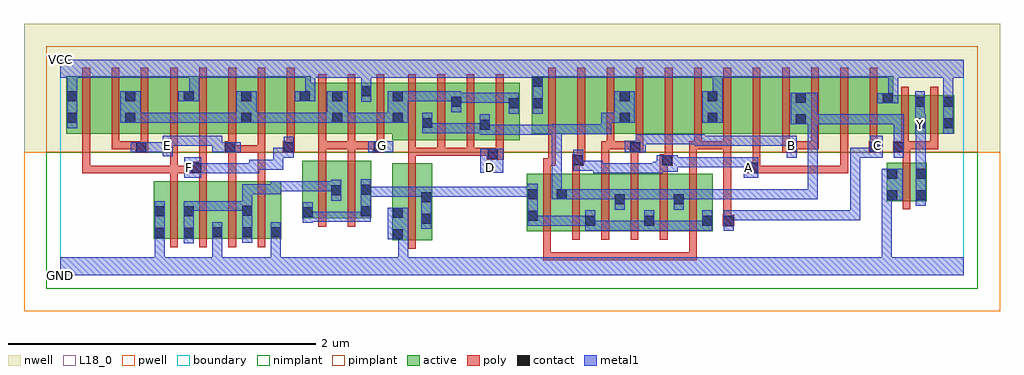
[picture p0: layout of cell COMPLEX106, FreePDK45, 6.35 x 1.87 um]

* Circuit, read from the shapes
.subckt COMPLEX106 A B C D E F G GND VCC Y
M1 n1 F GND VSUBS nfet w=0.375u l=0.05u m=2
M2 n1 E GND VSUBS nfet w=0.375u l=0.05u m=2
M3 n1 G n2 VSUBS nfet w=0.375u l=0.05u m=2
M4 n2 D GND VSUBS nfet w=0.5u l=0.05u
M5 n3 C n2 VSUBS nfet w=0.375u l=0.05u m=2
M6 n2 A n3 VSUBS nfet w=0.375u l=0.05u m=2
M7 n3 B n2 VSUBS nfet w=0.375u l=0.05u m=2
M8 Y n3 GND VSUBS nfet w=0.25u l=0.05u
M9 n4 F VCC n5 pfet w=0.375u l=0.05u
M10 n6 E n4 n5 pfet w=0.375u l=0.05u
M11 n7 E n6 n5 pfet w=0.375u l=0.05u
M12 VCC F n7 n5 pfet w=0.375u l=0.05u
M13 n8 F VCC n5 pfet w=0.375u l=0.05u
M14 n6 E n8 n5 pfet w=0.375u l=0.05u
M15 n9 E n6 n5 pfet w=0.375u l=0.05u
M16 VCC F n9 n5 pfet w=0.375u l=0.05u
M17 n6 G VCC n5 pfet w=0.332u l=0.05u m=3
M18 n3 D n6 n5 pfet w=0.375u l=0.05u m=4
M19 n10 C VCC n5 pfet w=0.375u l=0.05u
M20 n11 A n10 n5 pfet w=0.375u l=0.05u
M21 n3 B n11 n5 pfet w=0.375u l=0.05u
M22 n12 B n3 n5 pfet w=0.375u l=0.05u
M23 n13 A n12 n5 pfet w=0.375u l=0.05u
M24 VCC C n13 n5 pfet w=0.375u l=0.05u
M25 n14 C VCC n5 pfet w=0.375u l=0.05u
M26 n15 A n14 n5 pfet w=0.375u l=0.05u
M27 n3 B n15 n5 pfet w=0.375u l=0.05u
M28 n16 B n3 n5 pfet w=0.375u l=0.05u
M29 n17 A n16 n5 pfet w=0.375u l=0.05u
M30 VCC C n17 n5 pfet w=0.375u l=0.05u
M31 Y n3 VCC n5 pfet w=0.25u l=0.05u m=2
.ends

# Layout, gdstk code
import gdstk
lib = gdstk.Library(unit=1e-6, precision=1e-09)
def R(c, l, rs):  # rectangles x0, y0, x1, y1
    for r in rs: c.add(gdstk.rectangle(r[:2], r[2:], *l))
def A(c, l, x, y, w, h, nx, ny, dx, dy):  # array of equal rectangles
    R(c, l, [(x+i*dx, y+j*dy, x+i*dx+w, y+j*dy+h) for i in range(nx) for j in range(ny)])
active = (1, 0)
pwell = (2, 0)
nwell = (3, 0)
nimplant = (4, 0)
pimplant = (5, 0)
poly = (9, 0)
contact = (10, 0)
metal1 = (11, 0)
L18_0 = (18, 0)
boundary = (235, 0)

complex106 = lib.new_cell('COMPLEX106')
A(complex106, active, 0.04, 0.92, 0.225, 0.375, 3, 1, 0.38, 0)
A(complex106, active, 3.295, 0.92, 0.19, 0.375, 3, 1, 0.57, 0)
R(complex106, active, [(2.16,0.227,2.235,0.727), (2.16,0.227,2.42,0.727), (2.345,0.227,2.42,0.727), (0.61,0.237,0.685,0.612), (0.61,0.237,0.875,0.612), (0.8,0.237,1.06,0.612), (0.8,0.237,0.875,0.467), (0.985,0.237,1.255,0.612), (0.985,0.237,1.06,0.467), (1.18,0.237,1.44,0.612), (1.18,0.237,1.255,0.467), (1.365,0.237,1.44,0.612), (3.037,0.285,3.112,0.66), (3.037,0.285,3.302,0.66), (3.227,0.285,3.487,0.66), (3.412,0.285,3.677,0.66), (3.412,0.285,3.487,0.592), (3.602,0.285,3.872,0.66), (3.797,0.285,4.062,0.66), (3.797,0.285,3.872,0.592), (3.987,0.285,4.247,0.66), (4.172,0.285,4.247,0.66), (3.227,0.33,3.302,0.565), (3.987,0.33,4.062,0.53), (1.575,0.37,1.65,0.745), (1.575,0.37,1.835,0.745), (1.76,0.37,2.025,0.745), (1.76,0.37,1.835,0.59), (1.95,0.37,2.025,0.745), (3.602,0.37,3.677,0.592), (5.377,0.482,5.452,0.732), (5.377,0.482,5.637,0.732), (5.562,0.482,5.637,0.732), (2.16,0.877,2.425,1.252), (2.35,0.877,2.615,1.252), (2.35,0.877,2.425,1.07), (2.54,0.877,2.8,1.252), (2.725,0.877,2.99,1.252), (2.725,0.877,2.8,1.07), (2.915,0.877,2.99,1.2), (0.04,0.92,0.115,1.295), (0.265,0.92,0.495,1.295), (0.42,0.92,0.495,1.2), (0.645,0.92,0.875,1.295), (0.8,0.92,0.875,1.23), (1.025,0.92,1.25,1.295), (1.175,0.92,1.25,1.2), (1.175,0.92,1.405,1.295), (1.405,0.92,1.63,1.295), (1.555,0.92,1.63,1.2), (1.555,0.92,1.84,1.252), (1.765,0.92,1.84,1.2), (1.765,0.92,2.03,1.252), (1.955,0.92,2.235,1.252), (1.955,0.92,2.03,1.252), (2.16,0.92,2.235,1.2), (3.07,0.92,3.145,1.295), (3.07,0.92,3.295,1.295), (3.485,0.92,3.71,1.295), (3.635,0.92,3.71,1.2), (3.635,0.92,3.865,1.295), (4.055,0.92,4.282,1.295), (4.207,0.92,4.282,1.295), (4.207,0.92,4.435,1.295), (4.625,0.92,4.857,1.295), (4.782,0.92,5.007,1.295), (4.782,0.92,4.857,1.2), (5.007,0.92,5.197,1.295), (5.197,0.92,5.422,1.295), (5.347,0.92,5.632,1.17), (5.557,0.92,5.817,1.17), (5.742,0.92,5.817,1.17), (2.54,0.932,2.615,1.2), (5.557,0.95,5.632,1.165), (5.347,1.057,5.422,1.295)])
R(complex106, pwell, [(-0.235,-0.235,6.115,0.8)])
R(complex106, nwell, [(-0.235,0.8,6.115,1.635)])
R(complex106, nimplant, [(-0.09,-0.09,5.97,0.8)])
R(complex106, pimplant, [(-0.09,0.8,5.97,1.49)])
A(complex106, poly, 0.715, 0.182, 0.05, 0.485, 4, 1, 0.19, 0)
A(complex106, poly, 3.142, 0.23, 0.05, 0.485, 6, 1, 0.19, 0)
A(complex106, poly, 2.265, 0.777, 0.05, 0.095, 4, 1, 0.19, 0)
A(complex106, poly, 2.265, 0.777, 0.05, 0.05, 3, 1, 0.19, 0)
A(complex106, poly, 1.68, 0.82, 0.05, 0.095, 3, 1, 0.19, 0)
A(complex106, poly, 2.265, 0.822, 0.05, 0.485, 4, 1, 0.19, 0)
A(complex106, poly, 0.145, 0.865, 0.05, 0.485, 8, 1, 0.19, 0)
A(complex106, poly, 1.68, 0.865, 0.05, 0.442, 3, 1, 0.19, 0)
A(complex106, poly, 3.175, 0.865, 0.05, 0.485, 8, 1, 0.19, 0)
A(complex106, poly, 4.697, 0.865, 0.05, 0.485, 4, 1, 0.19, 0)
R(complex106, poly, [(3.142,0.097,3.192,0.147), (3.142,0.097,3.192,0.147), (3.142,0.097,3.192,0.147), (3.142,0.097,3.192,0.28), (3.142,0.097,3.357,0.147), (3.307,0.097,3.357,0.147), (3.307,0.097,3.357,0.147), (3.307,0.097,3.357,0.147), (3.307,0.097,3.49,0.147), (3.44,0.097,3.49,0.147), (3.44,0.097,3.737,0.147), (3.687,0.097,3.737,0.147), (3.687,0.097,3.737,0.147), (3.687,0.097,3.737,0.147), (3.687,0.097,4.01,0.147), (3.96,0.097,4.01,0.147), (3.96,0.097,4.01,0.147), (3.96,0.097,4.01,0.147), (3.96,0.097,4.142,0.147), (4.092,0.097,4.142,0.147), (4.092,0.097,4.142,0.147), (4.092,0.097,4.142,0.147), (4.092,0.097,4.142,0.28), (2.265,0.172,2.315,0.782), (1.68,0.315,1.73,0.8), (1.87,0.315,1.92,0.8), (4.312,0.317,4.387,0.392), (4.315,0.342,4.365,0.87), (5.482,0.427,5.532,0.787), (0.715,0.617,0.765,0.712), (0.905,0.617,0.955,0.712), (1.095,0.617,1.145,0.845), (1.285,0.617,1.335,0.845), (0.145,0.662,0.195,0.712), (0.145,0.662,0.195,0.712), (0.145,0.662,0.195,0.712), (0.145,0.662,0.195,0.712), (0.145,0.662,0.195,0.712), (0.145,0.662,0.195,0.915), (0.145,0.662,0.327,0.712), (0.277,0.662,0.327,0.712), (0.277,0.662,0.632,0.712), (0.582,0.662,0.632,0.712), (0.582,0.662,0.632,0.712), (0.582,0.662,0.632,0.712), (0.582,0.662,0.765,0.712), (0.715,0.662,0.765,0.712), (0.715,0.662,0.765,0.712), (0.715,0.662,0.765,0.712), (0.715,0.662,0.765,0.712), (0.715,0.662,0.765,0.712), (0.715,0.662,0.765,0.915), (0.715,0.662,0.897,0.712), (0.847,0.662,0.897,0.712), (0.847,0.662,0.897,0.712), (0.847,0.662,0.955,0.737), (4.472,0.662,4.555,0.737), (4.505,0.662,4.555,0.712), (4.505,0.662,4.555,0.712), (4.505,0.662,4.687,0.712), (4.637,0.662,4.687,0.712), (4.637,0.662,4.93,0.712), (4.88,0.662,4.93,0.712), (4.88,0.662,4.93,0.712), (4.88,0.662,4.93,0.712), (4.88,0.662,5.127,0.712), (5.077,0.662,5.127,0.712), (5.077,0.662,5.127,0.712), (5.077,0.662,5.127,0.712), (5.077,0.662,5.127,0.712), (5.077,0.662,5.127,0.712), (5.077,0.662,5.127,0.915), (3.142,0.665,3.192,0.76), (3.332,0.665,3.382,0.76), (3.522,0.665,3.572,0.87), (3.712,0.665,3.762,0.845), (3.902,0.665,3.952,0.76), (4.092,0.665,4.142,0.87), (0.905,0.687,0.955,0.737), (0.905,0.687,0.955,0.737), (0.905,0.687,0.955,0.915), (4.505,0.687,4.555,0.737), (4.505,0.687,4.555,0.737), (4.505,0.687,4.555,0.915), (3.142,0.71,3.225,0.76), (3.175,0.71,3.225,0.76), (3.175,0.71,3.225,0.76), (3.175,0.71,3.225,0.915), (3.332,0.71,3.407,0.785), (3.902,0.71,3.987,0.785), (2.265,0.732,2.315,0.827), (3.357,0.735,3.407,0.785), (3.357,0.735,3.415,0.785), (3.365,0.735,3.415,0.915), (3.935,0.735,3.985,0.785), (3.935,0.735,3.985,0.785), (3.935,0.735,3.985,0.915), (5.482,0.737,5.532,0.845), (1.68,0.75,1.73,0.87), (1.87,0.75,1.92,0.87), (2.777,0.752,2.885,0.827), (2.265,0.777,2.315,0.827), (2.265,0.777,2.315,0.827), (2.265,0.777,2.315,0.827), (2.265,0.777,2.315,0.827), (2.265,0.777,2.505,0.827), (2.455,0.777,2.695,0.827), (2.645,0.777,2.695,0.827), (2.645,0.777,2.695,0.827), (2.645,0.777,2.827,0.827), (2.777,0.777,2.827,0.827), (2.777,0.777,2.827,0.827), (0.49,0.795,0.575,0.87), (1.07,0.795,1.145,0.87), (1.095,0.795,1.145,0.845), (1.095,0.795,1.145,0.845), (1.095,0.795,1.335,0.845), (1.285,0.795,1.335,0.845), (1.285,0.795,1.335,0.845), (1.285,0.795,1.335,0.845), (1.285,0.795,1.335,0.845), (1.285,0.795,1.335,0.845), (1.285,0.795,1.335,0.915), (1.45,0.795,1.525,0.87), (2.035,0.795,2.11,0.87), (3.705,0.795,3.795,0.87), (3.712,0.795,3.762,0.845), (3.712,0.795,3.762,0.845), (4.697,0.795,4.797,0.87), (5.262,0.795,5.337,0.87), (5.42,0.795,5.532,0.87), (5.482,0.795,5.532,0.845), (5.482,0.795,5.532,0.845), (0.335,0.82,0.385,0.915), (0.335,0.82,0.385,0.87), (0.335,0.82,0.385,0.87), (0.335,0.82,0.385,0.87), (0.335,0.82,0.54,0.87), (0.525,0.82,0.575,0.915), (1.095,0.82,1.145,0.915), (1.475,0.82,1.525,0.915), (1.68,0.82,1.73,0.87), (1.68,0.82,1.73,0.87), (1.68,0.82,1.73,0.87), (1.68,0.82,1.92,0.87), (1.87,0.82,1.92,0.87), (1.87,0.82,1.92,0.87), (1.87,0.82,1.92,0.87), (1.87,0.82,1.92,0.87), (1.87,0.82,1.92,0.87), (1.87,0.82,2.085,0.87), (2.035,0.82,2.085,0.87), (2.035,0.82,2.085,0.87), (3.522,0.82,3.572,0.87), (3.522,0.82,3.572,0.87), (3.522,0.82,3.605,0.87), (3.555,0.82,3.605,0.915), (3.555,0.82,3.755,0.87), (3.705,0.82,3.755,0.87), (3.705,0.82,3.755,0.87), (3.745,0.82,3.795,0.915), (4.092,0.82,4.175,0.87), (4.125,0.82,4.175,0.915), (4.125,0.82,4.175,0.87), (4.125,0.82,4.175,0.87), (4.125,0.82,4.365,0.87), (4.315,0.82,4.365,0.915), (4.315,0.82,4.365,0.87), (4.315,0.82,4.365,0.87), (4.315,0.82,4.365,0.87), (4.315,0.82,4.365,0.87), (4.315,0.82,4.365,0.87), (4.315,0.82,4.365,0.87), (4.315,0.82,4.365,0.87), (4.697,0.82,4.747,0.915), (4.747,0.82,4.797,0.87), (4.747,0.82,4.797,0.87), (4.747,0.82,4.937,0.87), (4.887,0.82,4.937,0.915), (4.887,0.82,4.937,0.87), (5.267,0.82,5.317,0.915), (5.472,0.82,5.522,0.915), (5.482,0.82,5.712,0.87), (5.482,0.82,5.532,0.87), (5.482,0.82,5.532,0.87), (5.662,0.82,5.712,0.915), (5.662,0.82,5.712,0.87), (5.472,0.865,5.522,1.225), (5.662,0.865,5.712,1.225)])
A(complex106, contact, 0.045, 1.13, 0.065, 0.065, 3, 1, 0.38, 0)
R(complex106, contact, [(2.165,0.232,2.23,0.297), (0.615,0.242,0.68,0.307), (0.805,0.242,0.87,0.307), (0.99,0.245,1.055,0.31), (1.185,0.245,1.25,0.31), (1.37,0.245,1.435,0.31), (3.417,0.322,3.482,0.387), (3.802,0.322,3.867,0.387), (4.177,0.322,4.242,0.387), (4.317,0.322,4.382,0.387), (2.35,0.335,2.415,0.4), (3.042,0.355,3.107,0.42), (2.165,0.372,2.23,0.437), (1.58,0.375,1.645,0.44), (0.615,0.382,0.68,0.447), (0.805,0.382,0.87,0.447), (1.955,0.382,2.02,0.447), (1.185,0.385,1.25,0.45), (3.607,0.46,3.672,0.525), (3.992,0.46,4.057,0.525), (2.35,0.475,2.415,0.54), (5.382,0.487,5.447,0.552), (5.567,0.487,5.632,0.552), (3.042,0.495,3.107,0.56), (3.232,0.495,3.297,0.56), (1.765,0.52,1.83,0.585), (1.955,0.522,2.02,0.587), (5.382,0.627,5.447,0.692), (5.567,0.627,5.632,0.692), (0.852,0.667,0.917,0.732), (4.477,0.667,4.542,0.732), (3.337,0.715,3.402,0.78), (3.917,0.715,3.982,0.78), (2.782,0.757,2.847,0.822), (0.495,0.8,0.56,0.865), (1.075,0.8,1.14,0.865), (1.455,0.8,1.52,0.865), (2.04,0.8,2.105,0.865), (3.71,0.8,3.775,0.865), (4.727,0.8,4.792,0.865), (5.267,0.8,5.332,0.865), (5.425,0.8,5.49,0.865), (2.73,0.947,2.795,1.012), (5.562,0.955,5.627,1.02), (5.747,0.955,5.812,1.02), (2.355,0.957,2.42,1.022), (4.787,0.98,4.852,1.045), (0.045,0.99,0.11,1.055), (0.425,0.99,0.49,1.055), (1.18,0.99,1.245,1.055), (1.77,0.99,1.835,1.055), (2.165,0.99,2.23,1.055), (3.64,0.99,3.705,1.055), (4.212,0.99,4.277,1.055), (2.92,1.085,2.985,1.15), (3.075,1.085,3.14,1.15), (2.545,1.095,2.61,1.16), (5.562,1.095,5.627,1.16), (5.747,1.095,5.812,1.16), (5.352,1.117,5.417,1.182), (4.787,1.12,4.852,1.185), (1.18,1.13,1.245,1.195), (1.56,1.13,1.625,1.195), (1.77,1.13,1.835,1.195), (2.165,1.13,2.23,1.195), (3.64,1.13,3.705,1.195), (4.212,1.13,4.277,1.195), (1.96,1.162,2.025,1.227), (3.075,1.225,3.14,1.29)])
R(complex106, metal1, [(0,0,5.88,0.115), (0.615,0.05,0.68,0.272), (0.99,0.05,1.055,0.115), (0.99,0.05,1.055,0.115), (0.99,0.05,1.055,0.115), (0.99,0.05,1.055,0.115), (0.99,0.05,1.055,0.275), (1.37,0.05,1.435,0.115), (1.37,0.05,1.435,0.115), (1.37,0.05,1.435,0.275), (2.2,0.05,2.265,0.115), (2.2,0.05,2.265,0.115), (2.2,0.05,2.265,0.297), (5.347,0.05,5.412,0.115), (5.347,0.05,5.412,0.115), (5.347,0.05,5.412,0.115), (5.347,0.05,5.412,0.115), (5.347,0.05,5.412,0.115), (5.347,0.05,5.412,0.115), (5.347,0.05,5.412,0.552), (0.615,0.207,0.68,0.272), (0.615,0.207,0.68,0.272), (0.615,0.207,0.68,0.272), (0.615,0.207,0.68,0.272), (0.615,0.207,0.68,0.482), (0.805,0.207,0.87,0.482), (0.99,0.21,1.055,0.345), (1.185,0.21,1.25,0.485), (1.37,0.21,1.435,0.275), (1.37,0.21,1.435,0.275), (1.37,0.21,1.435,0.345), (2.13,0.232,2.265,0.437), (3.417,0.287,3.482,0.422), (3.417,0.287,3.54,0.352), (3.475,0.287,3.54,0.352), (3.475,0.287,3.672,0.352), (3.607,0.287,3.672,0.352), (3.607,0.287,3.725,0.352), (3.66,0.287,3.725,0.352), (3.66,0.287,3.867,0.352), (3.802,0.287,3.867,0.422), (3.802,0.287,4.057,0.352), (3.992,0.287,4.057,0.352), (3.992,0.287,4.057,0.352), (3.992,0.287,4.057,0.352), (3.992,0.287,4.195,0.352), (4.13,0.287,4.195,0.352), (4.13,0.287,4.242,0.352), (4.177,0.287,4.242,0.422), (4.317,0.287,4.382,0.422), (2.35,0.3,2.415,0.575), (3.042,0.32,3.107,0.385), (3.042,0.32,3.107,0.385), (3.042,0.32,3.107,0.595), (3.042,0.32,3.245,0.385), (3.18,0.32,3.245,0.385), (3.18,0.32,3.402,0.385), (3.337,0.32,3.402,0.385), (3.337,0.32,3.482,0.385), (1.58,0.34,1.645,0.475), (1.58,0.347,1.645,0.412), (1.58,0.347,1.645,0.412), (1.58,0.347,1.87,0.412), (1.805,0.347,1.87,0.412), (1.805,0.347,1.87,0.412), (1.805,0.347,1.87,0.412), (1.805,0.347,2.02,0.412), (1.955,0.347,2.02,0.622), (4.317,0.357,4.382,0.422), (4.317,0.357,4.382,0.422), (4.317,0.357,4.52,0.422), (4.455,0.357,4.52,0.422), (4.455,0.357,4.68,0.422), (4.615,0.357,4.68,0.422), (4.615,0.357,4.68,0.422), (4.615,0.357,4.68,0.422), (4.615,0.357,4.93,0.422), (4.865,0.357,4.93,0.422), (4.865,0.357,4.93,0.422), (4.865,0.357,4.93,0.422), (4.865,0.357,5.067,0.422), (5.002,0.357,5.067,0.422), (5.002,0.357,5.067,0.422), (5.002,0.357,5.067,0.422), (5.002,0.357,5.205,0.422), (5.14,0.357,5.205,0.422), (5.14,0.357,5.205,0.422), (5.14,0.357,5.205,0.422), (5.14,0.357,5.205,0.422), (5.14,0.357,5.205,0.422), (5.14,0.357,5.205,0.83), (0.805,0.417,0.87,0.482), (0.805,0.417,0.87,0.482), (0.805,0.417,1.072,0.482), (1.007,0.417,1.072,0.482), (1.007,0.417,1.072,0.482), (1.007,0.417,1.072,0.482), (1.007,0.417,1.25,0.482), (1.185,0.42,1.25,0.485), (1.185,0.42,1.25,0.59), (3.607,0.425,3.672,0.56), (3.992,0.425,4.057,0.56), (5.567,0.452,5.632,0.727), (1.765,0.485,1.83,0.62), (5.347,0.487,5.482,0.692), (3.197,0.495,3.332,0.56), (3.2,0.495,3.265,0.56), (3.2,0.495,3.265,0.56), (3.2,0.495,3.265,0.977), (3.267,0.495,3.332,0.56), (3.267,0.495,3.332,0.56), (3.267,0.495,3.532,0.56), (3.467,0.495,3.532,0.56), (3.467,0.495,3.54,0.56), (3.475,0.495,3.54,0.56), (3.475,0.495,3.672,0.56), (3.607,0.495,3.767,0.56), (3.702,0.495,3.767,0.56), (3.702,0.495,3.92,0.56), (3.855,0.495,3.92,0.56), (3.855,0.495,4.057,0.56), (3.992,0.495,4.057,0.56), (3.992,0.495,4.057,0.56), (3.992,0.495,4.195,0.56), (4.13,0.495,4.195,0.56), (4.13,0.495,4.195,0.56), (4.13,0.495,4.195,0.56), (4.13,0.495,4.375,0.56), (4.31,0.495,4.375,0.56), (4.31,0.495,4.375,0.56), (4.31,0.495,4.375,0.56), (4.31,0.495,4.542,0.56), (4.477,0.495,4.542,0.56), (4.477,0.495,4.68,0.56), (4.615,0.495,4.68,0.56), (4.615,0.495,4.68,0.56), (4.615,0.495,4.68,0.56), (4.615,0.495,4.68,0.56), (4.615,0.495,4.68,0.56), (4.615,0.495,4.93,0.56), (4.865,0.495,4.93,0.56), (4.865,0.495,4.93,1.045), (1.955,0.51,2.02,0.575), (1.955,0.51,2.02,0.575), (1.955,0.51,2.277,0.575), (2.212,0.51,2.277,0.575), (2.212,0.51,2.277,0.575), (2.212,0.51,2.277,0.575), (2.212,0.51,2.415,0.575), (2.35,0.51,2.415,0.575), (2.35,0.51,2.415,0.575), (2.35,0.51,2.657,0.575), (2.592,0.51,2.657,0.575), (2.592,0.51,2.657,0.575), (2.592,0.51,2.657,0.575), (2.592,0.51,2.795,0.575), (2.73,0.51,2.795,0.575), (2.73,0.51,2.795,0.575), (2.73,0.51,2.795,0.575), (2.73,0.51,2.932,0.575), (2.867,0.51,2.932,0.575), (2.867,0.51,3.107,0.575), (1.185,0.525,1.435,0.59), (1.37,0.525,1.435,0.595), (1.37,0.53,1.435,0.595), (1.37,0.53,1.435,0.612), (1.37,0.547,1.59,0.612), (1.525,0.547,1.59,0.612), (1.525,0.547,1.59,0.612), (1.525,0.547,1.59,0.612), (1.525,0.547,1.83,0.612), (0.807,0.632,0.917,0.767), (4.447,0.632,4.542,0.767), (0.852,0.662,1.065,0.727), (1,0.662,1.065,0.727), (1,0.662,1.065,0.727), (1,0.662,1.065,0.727), (1,0.662,1.297,0.727), (1.232,0.662,1.297,0.732), (3.467,0.662,3.587,0.727), (3.467,0.662,3.532,0.745), (3.522,0.662,3.587,0.727), (3.522,0.662,3.672,0.727), (3.607,0.662,3.672,0.727), (3.607,0.662,3.725,0.727), (3.66,0.662,3.725,0.727), (3.66,0.662,3.92,0.727), (3.855,0.662,3.92,0.737), (5.567,0.662,5.632,0.977), (1.232,0.667,1.297,0.732), (1.232,0.667,1.297,0.75), (2.732,0.667,2.882,0.822), (3.855,0.672,3.947,0.737), (3.882,0.672,4.017,0.78), (3.337,0.68,3.402,0.815), (3.337,0.68,3.532,0.745), (1.232,0.685,1.452,0.75), (1.387,0.685,1.452,0.75), (1.387,0.685,1.452,0.83), (3.952,0.702,4.057,0.767), (3.992,0.702,4.057,0.767), (3.992,0.702,4.207,0.767), (4.142,0.702,4.207,0.767), (4.142,0.702,4.207,0.767), (4.142,0.702,4.207,0.767), (4.142,0.702,4.345,0.767), (4.28,0.702,4.345,0.767), (4.28,0.702,4.512,0.767), (4.447,0.702,4.512,0.767), (4.447,0.702,4.512,0.767), (1.387,0.765,1.452,0.83), (1.387,0.765,1.52,0.83), (1.455,0.765,1.52,0.9), (4.727,0.765,4.792,0.907), (5.14,0.765,5.205,0.83), (5.14,0.765,5.332,0.83), (5.267,0.765,5.352,0.907), (5.425,0.765,5.49,0.9), (0.667,0.772,0.732,0.907), (0.46,0.8,0.595,0.865), (0.53,0.8,0.697,0.865), (0.632,0.8,0.697,0.865), (0.632,0.8,0.732,0.865), (0.99,0.8,1.105,0.865), (0.99,0.8,1.055,0.905), (1.04,0.8,1.175,0.865), (2.005,0.8,2.167,0.872), (3.675,0.8,3.81,0.875), (3.745,0.81,3.81,0.875), (3.745,0.81,3.81,0.917), (5.425,0.835,5.49,0.9), (5.425,0.835,5.49,0.9), (5.425,0.835,5.49,1.045), (0.667,0.84,0.87,0.905), (0.805,0.84,0.87,0.905), (0.805,0.84,0.87,0.905), (0.805,0.84,0.87,0.905), (0.805,0.84,1.055,0.905), (4.13,0.842,4.195,0.907), (4.13,0.842,4.195,0.907), (4.13,0.842,4.375,0.907), (4.13,0.842,4.195,0.917), (4.31,0.842,4.375,0.907), (4.31,0.842,4.542,0.907), (4.477,0.842,4.542,0.907), (4.477,0.842,4.542,0.907), (4.477,0.842,4.542,0.907), (4.477,0.842,4.68,0.907), (4.615,0.842,4.68,0.907), (4.615,0.842,4.792,0.907), (3.745,0.852,4.057,0.917), (3.992,0.852,4.057,0.917), (3.992,0.852,4.057,0.917), (3.992,0.852,4.057,0.917), (3.992,0.852,4.195,0.917), (2.73,0.912,2.795,0.977), (2.73,0.912,2.795,0.977), (2.73,0.912,2.795,1.047), (2.73,0.912,2.932,0.977), (2.867,0.912,2.932,0.977), (2.867,0.912,2.932,0.977), (2.867,0.912,2.932,0.977), (2.867,0.912,3.107,0.977), (3.042,0.912,3.107,0.977), (3.042,0.912,3.265,0.977), (3.2,0.912,3.265,0.977), (3.2,0.912,3.265,0.977), (3.2,0.912,3.265,0.982), (5.562,0.912,5.632,1.047), (5.567,0.912,5.632,0.977), (5.567,0.912,5.632,0.977), (3.2,0.917,3.332,0.982), (3.267,0.917,3.332,0.982), (3.267,0.917,3.532,0.982), (3.467,0.917,3.532,0.982), (3.467,0.917,3.587,0.982), (3.522,0.917,3.587,1.055), (5.562,0.92,5.627,0.985), (5.562,0.92,5.627,1.195), (5.747,0.92,5.812,1.195), (2.355,0.922,2.42,0.987), (2.355,0.922,2.42,0.987), (2.355,0.922,2.42,1.057), (2.355,0.922,2.657,0.987), (2.592,0.922,2.657,0.987), (2.592,0.922,2.657,0.987), (2.592,0.922,2.657,0.987), (2.592,0.922,2.795,0.987), (0.045,0.955,0.11,1.23), (4.752,0.98,4.93,1.185), (4.865,0.98,4.93,1.045), (4.865,0.98,4.93,1.045), (4.865,0.98,4.93,1.045), (4.865,0.98,4.93,1.045), (4.865,0.98,5.067,1.045), (5.002,0.98,5.067,1.045), (5.002,0.98,5.067,1.045), (5.002,0.98,5.067,1.045), (5.002,0.98,5.245,1.045), (5.18,0.98,5.245,1.045), (5.18,0.98,5.245,1.045), (5.18,0.98,5.245,1.045), (5.18,0.98,5.49,1.045), (5.425,0.98,5.49,1.045), (0.39,0.99,0.525,1.195), (0.46,0.99,0.525,1.055), (0.46,0.99,0.525,1.055), (0.46,0.99,0.697,1.055), (0.632,0.99,0.697,1.055), (0.632,0.99,0.732,1.055), (0.667,0.99,0.732,1.055), (0.667,0.99,0.87,1.055), (0.805,0.99,0.87,1.055), (0.805,0.99,0.87,1.055), (0.805,0.99,0.87,1.055), (0.805,0.99,1.057,1.055), (0.992,0.99,1.057,1.055), (0.992,0.99,1.057,1.055), (0.992,0.99,1.057,1.055), (0.992,0.99,1.21,1.055), (1.145,0.99,1.28,1.195), (1.735,0.99,1.87,1.195), (1.805,0.99,1.87,1.055), (1.805,0.99,1.87,1.055), (1.805,0.99,2.007,1.055), (1.942,0.99,2.007,1.055), (1.942,0.99,2.007,1.055), (1.942,0.99,2.007,1.055), (1.942,0.99,2.195,1.055), (2.13,0.99,2.265,1.195), (3.522,0.99,3.67,1.055), (3.605,0.99,3.74,1.195), (4.177,0.99,4.312,1.195), (1.215,0.992,1.28,1.057), (1.215,0.992,1.28,1.057), (1.215,0.992,1.452,1.057), (1.387,0.992,1.452,1.057), (1.387,0.992,1.452,1.057), (1.387,0.992,1.452,1.057), (1.387,0.992,1.6,1.057), (1.535,0.992,1.6,1.057), (1.535,0.992,1.6,1.057), (1.535,0.992,1.6,1.057), (1.535,0.992,1.8,1.057), (2.92,1.05,2.985,1.185), (3.075,1.05,3.14,1.325), (2.545,1.06,2.61,1.195), (5.317,1.117,5.452,1.182), (5.387,1.117,5.452,1.35), (2.545,1.12,2.61,1.185), (2.545,1.12,2.61,1.185), (2.545,1.12,2.795,1.185), (2.73,1.12,2.795,1.185), (2.73,1.12,2.795,1.185), (2.73,1.12,2.795,1.185), (2.73,1.12,2.985,1.185), (1.96,1.127,2.025,1.262), (0.77,1.13,0.905,1.195), (0.84,1.13,0.905,1.35), (1.525,1.13,1.66,1.195), (1.595,1.13,1.66,1.35), (2.2,1.13,2.265,1.195), (2.2,1.13,2.265,1.195), (2.2,1.13,2.472,1.195), (2.407,1.13,2.472,1.195), (2.407,1.13,2.472,1.195), (2.407,1.13,2.472,1.195), (2.407,1.13,2.61,1.195), (4.247,1.13,4.312,1.35), (5.747,1.13,5.812,1.195), (5.747,1.13,5.812,1.195), (5.747,1.13,5.812,1.35), (0.045,1.165,0.11,1.35), (1.96,1.197,2.025,1.35), (3.075,1.26,3.14,1.35), (0,1.285,5.88,1.4)])
R(complex106, L18_0, [(0,0,5.88,0.115), (0.615,0.05,0.68,0.272), (0.99,0.05,1.055,0.115), (0.99,0.05,1.055,0.115), (0.99,0.05,1.055,0.115), (0.99,0.05,1.055,0.115), (0.99,0.05,1.055,0.275), (1.37,0.05,1.435,0.115), (1.37,0.05,1.435,0.115), (1.37,0.05,1.435,0.275), (2.2,0.05,2.265,0.115), (2.2,0.05,2.265,0.115), (2.2,0.05,2.265,0.297), (5.347,0.05,5.412,0.115), (5.347,0.05,5.412,0.115), (5.347,0.05,5.412,0.115), (5.347,0.05,5.412,0.115), (5.347,0.05,5.412,0.115), (5.347,0.05,5.412,0.115), (5.347,0.05,5.412,0.552), (0.615,0.207,0.68,0.482), (0.615,0.207,0.68,0.272), (0.615,0.207,0.68,0.272), (0.615,0.207,0.68,0.272), (0.615,0.207,0.68,0.272), (0.99,0.21,1.055,0.345), (1.37,0.21,1.435,0.275), (1.37,0.21,1.435,0.275), (1.37,0.21,1.435,0.345), (2.13,0.232,2.265,0.437), (4.317,0.287,4.382,0.422), (4.317,0.357,4.382,0.422), (4.317,0.357,4.382,0.422), (4.317,0.357,4.52,0.422), (4.455,0.357,4.52,0.422), (4.455,0.357,4.68,0.422), (4.615,0.357,4.68,0.422), (4.615,0.357,4.68,0.422), (4.615,0.357,4.68,0.422), (4.615,0.357,4.93,0.422), (4.865,0.357,4.93,0.422), (4.865,0.357,4.93,0.422), (4.865,0.357,4.93,0.422), (4.865,0.357,5.067,0.422), (5.002,0.357,5.067,0.422), (5.002,0.357,5.067,0.422), (5.002,0.357,5.067,0.422), (5.002,0.357,5.205,0.422), (5.14,0.357,5.205,0.422), (5.14,0.357,5.205,0.422), (5.14,0.357,5.205,0.422), (5.14,0.357,5.205,0.422), (5.14,0.357,5.205,0.422), (5.14,0.357,5.205,0.83), (5.567,0.452,5.632,0.727), (5.347,0.487,5.482,0.692), (0.807,0.632,0.917,0.767), (4.447,0.632,4.542,0.767), (0.852,0.662,1.065,0.727), (1,0.662,1.065,0.727), (1,0.662,1.065,0.727), (1,0.662,1.065,0.727), (1,0.662,1.297,0.727), (1.232,0.662,1.297,0.732), (3.467,0.662,3.532,0.745), (3.467,0.662,3.587,0.727), (3.522,0.662,3.587,0.727), (3.522,0.662,3.672,0.727), (3.607,0.662,3.672,0.727), (3.607,0.662,3.725,0.727), (3.66,0.662,3.725,0.727), (3.66,0.662,3.92,0.727), (3.855,0.662,3.92,0.737), (5.567,0.662,5.632,0.977), (0.807,0.667,0.872,0.732), (1.232,0.667,1.297,0.732), (1.232,0.667,1.297,0.75), (2.732,0.667,2.882,0.822), (2.767,0.667,2.832,0.732), (4.447,0.667,4.512,0.732), (3.855,0.672,3.947,0.737), (3.882,0.672,4.017,0.78), (3.337,0.68,3.402,0.815), (3.337,0.68,3.532,0.745), (1.232,0.685,1.452,0.75), (1.387,0.685,1.452,0.75), (1.387,0.685,1.452,0.83), (3.952,0.702,4.057,0.767), (3.992,0.702,4.057,0.767), (3.992,0.702,4.207,0.767), (4.142,0.702,4.207,0.767), (4.142,0.702,4.207,0.767), (4.142,0.702,4.207,0.767), (4.142,0.702,4.345,0.767), (4.28,0.702,4.345,0.767), (4.28,0.702,4.512,0.767), (4.447,0.702,4.512,0.767), (4.447,0.702,4.512,0.767), (1.387,0.765,1.452,0.83), (1.387,0.765,1.52,0.83), (1.455,0.765,1.52,0.9), (4.727,0.765,4.792,0.907), (5.14,0.765,5.205,0.83), (5.14,0.765,5.332,0.83), (5.267,0.765,5.352,0.907), (0.667,0.772,0.732,0.907), (0.46,0.8,0.595,0.865), (0.53,0.8,0.697,0.865), (0.632,0.8,0.697,0.865), (0.632,0.8,0.732,0.865), (0.99,0.8,1.055,0.905), (0.99,0.8,1.105,0.865), (1.04,0.8,1.175,0.865), (2.005,0.8,2.167,0.872), (3.675,0.8,3.81,0.875), (0.667,0.807,0.732,0.872), (2.067,0.807,2.132,0.872), (4.727,0.807,4.792,0.872), (5.287,0.807,5.352,0.872), (3.745,0.81,3.81,0.875), (3.745,0.81,3.81,0.917), (0.667,0.84,0.87,0.905), (0.805,0.84,0.87,0.905), (0.805,0.84,0.87,0.905), (0.805,0.84,0.87,0.905), (0.805,0.84,1.055,0.905), (4.13,0.842,4.195,0.907), (4.13,0.842,4.195,0.907), (4.13,0.842,4.195,0.917), (4.13,0.842,4.375,0.907), (4.31,0.842,4.375,0.907), (4.31,0.842,4.542,0.907), (4.477,0.842,4.542,0.907), (4.477,0.842,4.542,0.907), (4.477,0.842,4.542,0.907), (4.477,0.842,4.68,0.907), (4.615,0.842,4.68,0.907), (4.615,0.842,4.792,0.907), (3.745,0.852,4.057,0.917), (3.992,0.852,4.057,0.917), (3.992,0.852,4.057,0.917), (3.992,0.852,4.057,0.917), (3.992,0.852,4.195,0.917), (5.562,0.912,5.632,1.047), (5.567,0.912,5.632,0.977), (5.567,0.912,5.632,0.977), (5.562,0.92,5.627,1.195), (5.562,0.92,5.627,0.985), (5.747,0.92,5.812,1.195), (5.567,0.947,5.632,1.012), (0.045,0.955,0.11,1.23), (4.177,0.99,4.312,1.195), (3.075,1.05,3.14,1.325), (5.317,1.117,5.452,1.182), (5.387,1.117,5.452,1.35), (1.96,1.127,2.025,1.262), (0.77,1.13,0.905,1.195), (0.84,1.13,0.905,1.35), (1.525,1.13,1.66,1.195), (1.595,1.13,1.66,1.35), (4.247,1.13,4.312,1.35), (5.747,1.13,5.812,1.195), (5.747,1.13,5.812,1.195), (5.747,1.13,5.812,1.35), (0.045,1.165,0.11,1.35), (1.96,1.197,2.025,1.35), (3.075,1.26,3.14,1.35), (0,1.285,5.88,1.4)])
R(complex106, boundary, [(0,0,5.88,1.4)])
complex106.add(gdstk.Label('A', (4.48,0.7), layer=11, texttype=0))
complex106.add(gdstk.Label('B', (4.76,0.84), layer=11, texttype=0))
complex106.add(gdstk.Label('C', (5.32,0.84), layer=11, texttype=0))
complex106.add(gdstk.Label('D', (2.8,0.7), layer=11, texttype=0))
complex106.add(gdstk.Label('E', (0.7,0.84), layer=11, texttype=0))
complex106.add(gdstk.Label('F', (0.84,0.7), layer=11, texttype=0))
complex106.add(gdstk.Label('G', (2.1,0.84), layer=11, texttype=0))
complex106.add(gdstk.Label('Y', (5.6,0.98), layer=11, texttype=0))
complex106.add(gdstk.Label('VCC', (0,1.4), layer=11, texttype=0))
complex106.add(gdstk.Label('GND', (0,0), layer=11, texttype=0))

lib.write_gds('COMPLEX106.gds')
